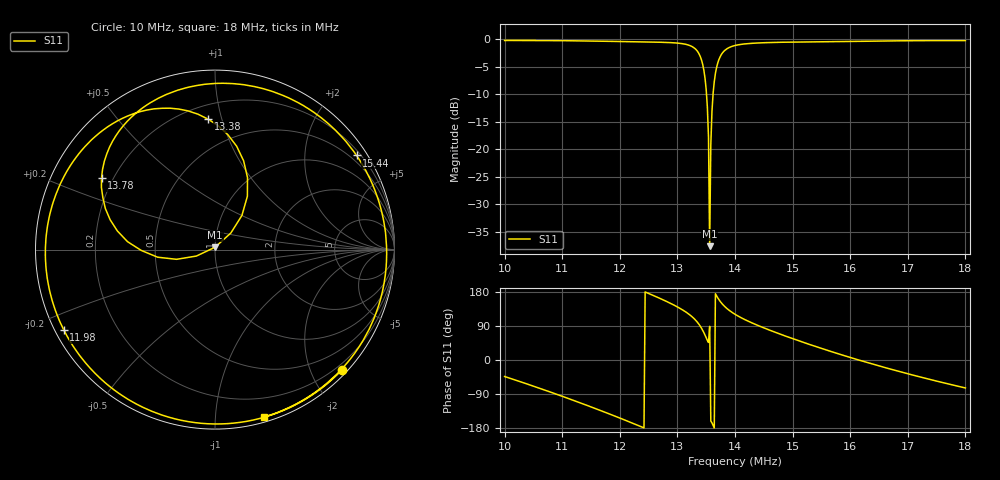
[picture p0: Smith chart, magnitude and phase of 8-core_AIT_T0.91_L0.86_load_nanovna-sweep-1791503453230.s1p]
! NanoVNA Web complex sweep
! Processing: original sample grid, no browser smoothing
# Hz S RI R 50
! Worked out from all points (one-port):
!   401 points, 10 MHz to 18 MHz, reference 50 ohm
!   lowest |S11| = -37.6 dB at 13.56 MHz (marker M1), VSWR 1.03, Z = 50 + j1.32 ohm
!   |S11| at or under -10 dB: 13.51 MHz to 13.62 MHz (113.8 kHz wide, 0.839 % of centre)
!   S11 on the Smith chart (normalised r, x): 10 MHz: 0.09, -2.50; 11.98 MHz: 0.03, -0.25; 13.38 MHz: 0.29, +0.90; 13.78 MHz: 0.16, +0.28; 15.44 MHz: 0.32, +3.28; 18 MHz: 0.04, -1.33
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1e7  0.7064 -0.6711
1.054e7  0.3159 -0.9209
1.1e7  -0.0967 -0.9658
1.148e7  -0.5191 -0.8119
1.198e7  -0.8419 -0.4488
1.2e7  -0.8509 -0.4307
1.254e7  -0.9359 0.1136
1.3e7  -0.7071 0.5921
1.324e7  -0.3803 0.7774
1.338e7  -0.0394 0.7273
1.348e7  0.1811 0.4014
1.35e7  0.1803 0.2967
1.352e7  0.1499 0.1901
1.356e7  0.000244 0.0132
1.36e7  -0.2142 -0.0541
1.362e7  -0.3195 -0.0424
1.366e7  -0.4874 0.0442
1.372e7  -0.6109 0.2289
1.378e7  -0.6322 0.3995
1.4e7  -0.4474 0.7543
1.444e7  0.0241 0.9263
1.5e7  0.5207 0.7846
1.544e7  0.7886 0.5245
1.6e7  0.9471 0.1123
1.648e7  0.9303 -0.2439
1.7e7  0.7806 -0.574
1.75e7  0.5473 -0.8028
1.8e7  0.2715 -0.9333
